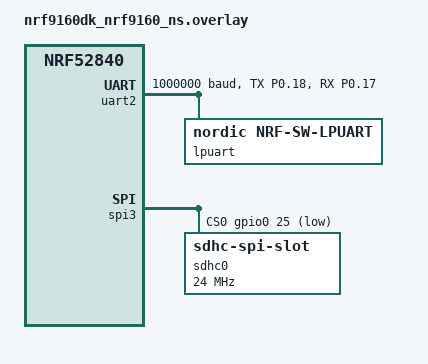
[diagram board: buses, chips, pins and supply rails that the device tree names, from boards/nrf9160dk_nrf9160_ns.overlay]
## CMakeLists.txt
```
# SPDX-License-Identifier: Apache-2.0

cmake_minimum_required(VERSION 3.20.0)

find_package(Zephyr REQUIRED HINTS $ENV{ZEPHYR_BASE})
project(ble_uart)

# Include main application source files
target_sources(app PRIVATE src/main.c)

# Add modules source file
target_sources(app PRIVATE src/scan_module.c src/beacon_module.c src/sdcard_module.c src/uart_module.c) # src/gnss_module.c 

# If you have a separate include directory for headers, you can add it like this:
target_include_directories(app PRIVATE include)
```

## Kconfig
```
#
# Copyright (c) 2019 Nordic Semiconductor ASA
#
# SPDX-License-Identifier: LicenseRef-Nordic-5-Clause
#

menu "cellfund Lesson 6 Exercise"


# STEP 3.1 - Define configuration for fix interval
config GNSS_PERIODIC_INTERVAL
	int "Fix interval for periodic GPS fixes"
	range 10 65535
	default 10
	help
	  Fix interval (in seconds) for periodic fixes.

# STEP 3.2 - Define configuration for fix timeout
config GNSS_PERIODIC_TIMEOUT
	int "Fix timeout for periodic GPS fixes"
	range 0 65535
	default 60
	help
	  Fix timeout (in seconds) for periodic fixes.
	  If set to zero, GNSS is allowed to run indefinitely until a valid PVT estimate is produced.


endmenu

menu "Zephyr Kernel"
source "Kconfig.zephyr"
endmenu
```

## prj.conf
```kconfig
CONFIG_BT=y
CONFIG_BT_BROADCASTER=y
CONFIG_BT_OBSERVER=y
CONFIG_LOG=y

# CONFIG_BT_DEVICE_NAME="B2B"
CONFIG_BT_EXT_ADV=y
CONFIG_BT_EXT_ADV_MAX_ADV_SET=2


# SD config
CONFIG_DISK_ACCESS=y
CONFIG_LOG=y
CONFIG_FILE_SYSTEM=y
CONFIG_FAT_FILESYSTEM_ELM=y
CONFIG_PRINTK=y
CONFIG_MAIN_STACK_SIZE=2048

CONFIG_SPI=y
CONFIG_GPIO=y
CONFIG_SDMMC_SUBSYS=y # Added for nrf52 dk support


# for random number generation
CONFIG_ENTROPY_GENERATOR=y

# UART
CONFIG_SERIAL=y
CONFIG_UART_ASYNC_API=y

# Log timestamp
CONFIG_LOG_PROCESS_THREAD=y  # Creates new thread for logging so there are no additional delays

# Debugging
CONFIG_DEBUG_THREAD_INFO=y
CONFIG_THREAD_STACK_INFO=y
CONFIG_STACK_SENTINEL=y
```

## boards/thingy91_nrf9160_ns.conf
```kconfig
CONFIG_NRF_SW_LPUART=y
CONFIG_NRF_SW_LPUART_INT_DRIVEN=y

CONFIG_UART_2_ASYNC=y
CONFIG_UART_2_INTERRUPT_DRIVEN=n
CONFIG_UART_2_NRF_HW_ASYNC=y
CONFIG_UART_2_NRF_HW_ASYNC_TIMER=2

CONFIG_USE_SEGGER_RTT=y
CONFIG_RTT_CONSOLE=y
CONFIG_UART_CONSOLE=n
CONFIG_LOG_BACKEND_RTT=y

CONFIG_AT_HOST_LIBRARY=n

CONFIG_LTE_LOCK_BANDS=y
# Enable band 2, 3, 4, 8, 12, 13 ,20 and 28
CONFIG_LTE_LOCK_BAND_MASK="1000000010000001100010001110"
```

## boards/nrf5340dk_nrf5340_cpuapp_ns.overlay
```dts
  arduino_spi: &spi4 {
    status = "okay";
    compatible = "nordic,nrf-spim";
    pinctrl-0 = <&spi4_default>;
    pinctrl-1 = <&spi4_sleep>;
    pinctrl-names = "default", "sleep";
    cs-gpios = <&gpio1 12 GPIO_ACTIVE_LOW>;
  
    sdhc0: sdhc@0 {
            compatible = "zephyr,sdhc-spi-slot";
            reg = <0>;
            status = "okay";
            mmc {
                compatible = "zephyr,sdmmc-disk";
                status = "okay";
            };
            spi-max-frequency = <24000000>;
    };
  };

  &uart2 {
    current-speed = <1000000>;
    status = "okay";
  
    pinctrl-0 = <&uart2_default>;
    pinctrl-1 = <&uart2_sleep>;
    pinctrl-names = "default", "sleep";
  };
  
  &i2c1 {
    status = "disabled";
  };

  / {
    leds {
      compatible = "gpio-leds";
      led3: led_3 {
        gpios = <&gpio0 31 GPIO_ACTIVE_HIGH>;
        label = "Green LED 3";
      };
    };
  };

  / {
    aliases {
        sync = &sync_gpio;  
    };
  
    sync_out: sync_out {
        compatible = "gpio-leds";
        sync_gpio: sync_gpio { 
            gpios = <&gpio0 7 GPIO_ACTIVE_HIGH>;  
            label = "SYNC_OUT";
        };
    };
  };

  &pinctrl {
    uart2_default: uart2_default {
      group1 {
        psels = <NRF_PSEL(UART_TX, 1, 11)>,
          <NRF_PSEL(UART_RTS, 0, 1)>;
      };
      group2 {
        psels = <NRF_PSEL(UART_RX, 1, 10)>,
          <NRF_PSEL(UART_CTS, 0, 0)>;
        bias-pull-up;
      };
    };
  
    uart2_sleep: uart2_sleep {
      group1 {
        psels = <NRF_PSEL(UART_TX, 1, 11)>,
          <NRF_PSEL(UART_RX, 1, 10)>,
          <NRF_PSEL(UART_RTS, 0, 1)>,
          <NRF_PSEL(UART_CTS, 0, 0)>;
        low-power-enable;
      };
    };
  };

&timer0 {
  status = "okay";
};
```

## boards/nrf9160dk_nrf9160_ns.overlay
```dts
#include <nrf9160dk_nrf52840_reset_on_if5.dtsi>

/ {
	chosen {
		zephyr,bt-uart=&lpuart;
	};
};

&gpiote {
	interrupts = <49 NRF_DEFAULT_IRQ_PRIORITY>;
};

&uart2 {
	current-speed = <1000000>;
	status = "okay";
	/delete-property/ hw-flow-control;

	pinctrl-0 = <&uart2_default_alt>;
	pinctrl-1 = <&uart2_sleep_alt>;
	pinctrl-names = "default", "sleep";
	lpuart: nrf-sw-lpuart {
		compatible = "nordic,nrf-sw-lpuart";
		status = "okay";
		req-pin = <21>; /* <&interface_to_nrf52840 3 0>; */
		rdy-pin = <19>; /* <&interface_to_nrf52840 2 0>; */
	};
};

arduino_spi: &spi3 {
	status = "okay";
	compatible = "nordic,nrf-spim";
	pinctrl-0 = <&spi3_default>;
	pinctrl-1 = <&spi3_sleep>;
	pinctrl-names = "default", "sleep";
	cs-gpios = <&gpio0 25 GPIO_ACTIVE_LOW>;

	sdhc0: sdhc@0 {
					compatible = "zephyr,sdhc-spi-slot";
					reg = <0>;
					status = "okay";
					mmc {
							compatible = "zephyr,sdmmc-disk";
							status = "okay";
					};
					spi-max-frequency = <24000000>;
	};
};

&pinctrl {
	uart2_default_alt: uart2_default_alt {
		group1 {
			psels = <NRF_PSEL(UART_TX, 0, 18)>,
				<NRF_PSEL(UART_RX, 0, 17)>;
		};
	};

	uart2_sleep_alt: uart2_sleep_alt {
		group1 {
			psels = <NRF_PSEL(UART_TX, 0, 18)>,
				<NRF_PSEL(UART_RX, 0, 17)>;
			low-power-enable;
		};
	};

};
```

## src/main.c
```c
#include <zephyr/kernel.h>
#include <zephyr/logging/log.h>
// #include <modem/nrf_modem_lib.h>
#include <zephyr/drivers/gpio.h>
#include <zephyr/sys/reboot.h>
#include <zephyr/bluetooth/hci.h>
#include "gnss_module.h" // Include the GNSS module
#include "scan_module.h"   // Include the BLE module
#include "beacon_module.h"  // Include the BLE beacon module
#include "ble_settings.h"
#include "sdcard_module.h"
#include "uart_module.h"

LOG_MODULE_REGISTER(main_logging, LOG_LEVEL_INF); // Register the logging module

// Define the runtime variables globally so they can be accessed from other files
uint32_t runtime_ms = 0;
uint32_t previous_runtime_ms = 0;

// States 
typedef enum {
    STATE_GNSS_SEARCH,
    STATE_SCANNING,
    STATE_ADVERTISING,
    STATE_DONE,
    STATE_NEW_TEST_FILE,
    STATE_ERROR,
    STATE_UART_SYNC
} app_state_t;

static app_state_t current_state = STATE_DONE;  // Initialize to GNSS search state

#if ROLE
static uint8_t test_count = 0;
#endif

void error_callback(const char *error_message)
{
    LOG_ERR("SD Card Error: %s", error_message);
    reset_packet_queue();
    append_error();
    current_state = STATE_NEW_TEST_FILE;
}

// configurations GPIOs, timers and synchronization
#if !defined(CONFIG_BOARD_NRF9160DK_NRF52840)

        #define EXPECTED_PULSE_COUNT 10 

        /* The devicetree node identifier for the "led0" alias. */
        #define LED0_NODE DT_ALIAS(led0)
        #define LED1_NODE DT_ALIAS(led1)
        #define LED2_NODE DT_ALIAS(led2)
        #define LED3_NODE DT_ALIAS(led3)
        #define BUTTON_NODE DT_ALIAS(sw0)
        #define SYNC_PIN  DT_ALIAS(sync)

        static const struct gpio_dt_spec led1 = GPIO_DT_SPEC_GET(LED0_NODE, gpios);
        static const struct gpio_dt_spec led2 = GPIO_DT_SPEC_GET(LED1_NODE, gpios);
        static const struct gpio_dt_spec led3 = GPIO_DT_SPEC_GET(LED2_NODE, gpios);
        static const struct gpio_dt_spec led4 = GPIO_DT_SPEC_GET(LED3_NODE, gpios);
        static const struct gpio_dt_spec button = GPIO_DT_SPEC_GET(BUTTON_NODE, gpios);
        static const struct gpio_dt_spec sync = GPIO_DT_SPEC_GET(SYNC_PIN, gpios);
        
        // Timers
        static struct k_timer timeout_timer;
        #if ROLE
            void sync_pulse(void) {
                gpio_pin_toggle_dt(&sync);
                gpio_pin_toggle_dt(&sync);
                gpio_pin_toggle_dt(&led3);
                LOG_INF("Sync pulse sent at %u ms", k_uptime_get());
            }
        #endif

        #if !ROLE
            static struct gpio_callback sync_cb_data;
            static bool synchronized = false;
            static bool synchronized_done = false;
            static uint32_t pulse_count = 0; // Track pulse count
            static uint32_t last_sync_time = 0; // Timestamp of the last sync pulse
            static uint32_t sync_period = 0; // Time difference between sync pulses

            // Callback function for sync pulse
            void sync_callback(const struct device *dev, struct gpio_callback *cb, uint32_t pins) {
                uint32_t current_time = k_uptime_get();
                
                // LOG_INF("Sync pulse received at %u ms", current_time);

                if (!synchronized) {
                    // Start synchronization after the first pulse
                    synchronized = true;
                    pulse_count = 1;
                    last_sync_time = current_time;
                } else {
                    // Calculate the time difference between consecutive sync pulses
                    sync_period = current_time - last_sync_time;
                    last_sync_time = current_time;
                    pulse_count++;

                    // Log sync period (frequency of sync pulse)
                    LOG_INF("Sync period: %u ms", sync_period);

                    // If we've received 10 pulses, stop listening and start toggling the LED
                    if (pulse_count >= EXPECTED_PULSE_COUNT) {
                        // LOG_INF("Received 10 pulses. Starting LED toggle.");
                        gpio_pin_interrupt_configure_dt(&sync, GPIO_INT_DISABLE); // Disable further interrupts
                    }
                }
            }
        #endif

        static struct k_timer led_timer;

        static struct gpio_callback button_cb_data;

        // Function to turn off the LED
        static void led_off(struct k_timer *timer) {
            gpio_pin_configure_dt(&led4, GPIO_OUTPUT_INACTIVE);
        }
        
        // Reset the LED timer and turn on the LED
        static void reset_led_timer(void) {
            gpio_pin_configure_dt(&led4, GPIO_OUTPUT_ACTIVE);  // Turn on the LED
            k_timer_start(&led_timer, K_MSEC(100), K_NO_WAIT);  // Reset the timer (1 second)
        }

        // #if ROLE
            static bool first_test = true;
        // #endif

        static bool recording_status = false;

        #define DEBOUNCE_DELAY_MS 500
        static uint32_t last_press_time = 0;

        void button_pressed(const struct device *dev, struct gpio_callback *cb, uint32_t pins)
        {
            uint32_t current_time = k_uptime_get();

            if ((current_time - last_press_time) > DEBOUNCE_DELAY_MS) {
                last_press_time = current_time;
                #if NLOS_TEST
                    // #if ROLE
                    if (recording_status) {
                        LOG_INF("Stop recording");
                        append_stop();
                        switch_recording(false);
                        gpio_pin_configure_dt(&led2, GPIO_OUTPUT_INACTIVE);
                        recording_status = false;
                    } else {
                        // append_null();
                        LOG_INF("Start recording");
                        switch_recording(true);
                        gpio_pin_configure_dt(&led2, GPIO_OUTPUT_ACTIVE);
                        recording_status = true;
                    }
                    // #else
                    //     gpio_pin_toggle_dt(&led2);
                    //     LOG_INF("Button pressed");
                    // #endif
                #endif
            }
        }

    // #if ROLE
        static void timer_handler(struct k_timer *timer_id) {
            current_state = STATE_NEW_TEST_FILE; 
        }     
    // #endif
#endif



// Callback function for first GNSS fix
// void on_first_fix_acquired(void) {
//     LOG_INF("Switching from GNSS search to Bluetooth scanning");
//     int err = application_init();
//     if (err) {
//         LOG_ERR("Application init failed");
//         return;
//     }
//     current_state = STATE_DONE;
// }

int main(void) {
    int err;
    LOG_INF("Starting B2B device...");

    #if !defined(CONFIG_BOARD_NRF9160DK_NRF52840)
        // initialize the GPIO pins
        int ret;
        if (!gpio_is_ready_dt(&led1)) {
            return 0;
        }
        if (!gpio_is_ready_dt(&led2)) {
            return 0;
        }
        if (!gpio_is_ready_dt(&led3)) {
            return 0;
        }
        if (!gpio_is_ready_dt(&led4)) {
            return 0;
        }
        if (!gpio_is_ready_dt(&button)) {
            return 0;
        }

        if (!gpio_is_ready_dt(&sync)) {
            return 0;
        }

        ret = gpio_pin_configure_dt(&button, GPIO_INPUT);
        if (ret < 0) {
            return -1;
        }

        gpio_pin_configure_dt(&led1, GPIO_OUTPUT_ACTIVE);   
        gpio_pin_configure_dt(&led2, GPIO_OUTPUT_ACTIVE);
        
        #if !defined(CONFIG_BOARD_NRF9160DK_NRF52840)
            #if ROLE
                gpio_pin_configure_dt(&sync, GPIO_OUTPUT);
                // Register the error callback with the SD card module
                set_error_handler(error_callback);

                // Initialize the SD card
                err = sdcard_init();
                if (err) {
                    LOG_ERR("Failed to initialize SD Card, error: %d", err);
                    return 0;
                } else {
                    create_csv();
                } 

                append_csv(0, 0, 0, 0, 0, 0, 0, 0, 0, 0, 0, 0, 0, 0); 
            #endif
            #if !ROLE
                // Configure sync pin (input with pull-up) and interrupt for rising edge
                gpio_pin_configure_dt(&sync, GPIO_INPUT | GPIO_PULL_UP);
                gpio_pin_interrupt_configure_dt(&sync, GPIO_INT_EDGE_TO_ACTIVE);

                // Initialize callback for sync pulse
                gpio_init_callback(&sync_cb_data, sync_callback, BIT(sync.pin));
                gpio_add_callback(sync.port, &sync_cb_data);
            #endif
        #endif

            gpio_pin_configure_dt(&led3, GPIO_OUTPUT_ACTIVE);
            gpio_pin_configure_dt(&led4, GPIO_OUTPUT_ACTIVE);
        
    #endif

    // Initialize the GNSS module
    // err = nrf_modem_lib_init();
    // if (err) {
    //     LOG_ERR("Failed to initialize modem, error: %d", err);
    //     return -1;
    // }

    // // Setup GNSS with the first-fix callback
    // if (setup_gnss(on_first_fix_acquired) != 0) {
    //     LOG_ERR("GNSS setup failed");
    //     return -1;
    // }

    // Main loop
    while (true) {
        switch (current_state) {
            case STATE_GNSS_SEARCH:
                // LOG_INF("Searching first fix");
                break;

            case STATE_SCANNING:
                
                reset_packet_received();
                #if !defined(CONFIG_BOARD_NRF9160DK_NRF52840)
                    ret = gpio_pin_configure_dt(&led1, GPIO_OUTPUT_INACTIVE);
                    if (ret < 0) {
                        return 0;
                    }
                #endif

                // Initialize and start Bluetooth scanning
                err = ble_start_scanning();
                if (err) {
                    LOG_ERR("BLE scanning start failed");
                    return err;
                }
                
                k_sleep(K_MSEC(SCAN_WINDOW_MAIN));
                // scan_duration = scan_duration + SCAN_WINDOW_MAIN;
                #if !defined(CONFIG_BOARD_NRF9160DK_NRF52840)
                    if (is_packet_received()) {
                        reset_led_timer();
                    }
                #endif

                // keep scanning if no available data to send
                while (!check_update_availability()) {
                    // LOG_INF("Scan interval reset due to no data to send. \n");
                    k_sleep(K_MSEC(SCAN_WINDOW_MAIN));
                    // scan_duration = scan_duration + SCAN_WINDOW_MAIN;
                    #if !defined(CONFIG_BOARD_NRF9160DK_NRF52840)
                        if (is_packet_received()) {
                            reset_led_timer();
                        }
                    #endif
                }

                int err = bt_le_scan_stop();
                if (err) {
                    LOG_ERR("Stopping scanning failed (err %d)\n", err);
                    return 0;
                }

                // Move to ADVERTISING state
                if (current_state != STATE_NEW_TEST_FILE){
                    current_state = STATE_ADVERTISING;
                }

                break;

            case STATE_ADVERTISING:
                #if !defined(CONFIG_BOARD_NRF9160DK_NRF52840)
                    ret = gpio_pin_configure_dt(&led1, GPIO_OUTPUT_ACTIVE);
                    if (ret < 0) {
                        return 0;
                    }
                    ret = gpio_pin_interrupt_configure_dt(&button, GPIO_INT_EDGE_TO_ACTIVE);

                    gpio_init_callback(&button_cb_data, button_pressed, BIT(button.pin)); 	
                    gpio_add_callback(button.port, &button_cb_data);
                #endif
                
                #if NLOS_TEST
                    #if ROLE
                        if(recording_status) {
                            err = advertising_start(false);
                        } else {
                            err = advertising_start(true);
                        }
                    #else
                        err = advertising_start(false); 
                    #endif
                #else
                    err = advertising_start(false);
                #endif
                if (err) {
                    LOG_ERR("Advertising start failed");
                    #ifdef CONFIG_BOARD_NRF9160DK_NRF52840
                    return err;
                    #else
                    return err;
                    append_error();
                    current_state = STATE_NEW_TEST_FILE;
                    break;
                    #endif
                }

                // Wait here until advertising completes
                while (!get_adv_progress()) {
                    k_sleep(K_MSEC(1)); // Small delay to avoid CPU overuse
                    // LOG_INF("transmission not done");
                }

                advertising_stop();

                if (current_state != STATE_NEW_TEST_FILE){
                    current_state = STATE_SCANNING;
                }
                // LOG_INF("Advertising duration: %d", k_uptime_get()-time);   
                break;

            // Pins, LEDs and BLE initialization 
            case STATE_DONE:
                // LOG_INF("Process done. Going to scanning state");
                #if !defined(CONFIG_BOARD_NRF9160DK_NRF52840)
                    gpio_pin_configure_dt(&led1, GPIO_OUTPUT_INACTIVE);
                    gpio_pin_configure_dt(&led2, GPIO_OUTPUT_INACTIVE);
                    gpio_pin_configure_dt(&led3, GPIO_OUTPUT_ACTIVE);
                    gpio_pin_configure_dt(&led4, GPIO_OUTPUT_INACTIVE);
                #endif

                // Enable BLE 
                err = bt_enable(NULL);
                if (err) {
                    LOG_ERR("Bluetooth init failed (err %d)", err);
                    return err;
                }
                
                
                // Initialize and start Bluetooth advertising
                err = advertising_module_init();
                if (err) {
                    LOG_ERR("Advertising module init failed");
                    return err;
                }
                
                LOG_INF("Bluetooth initialized");
                LOG_INF("Msg generation: %d ms / Number of copies: %d / Scan Window: %d ms / Test: %s / Time shift: %d ms / Role: %d", 
                    INTERVAL, PACKET_COPIES,SCAN_WINDOW_MAIN,CSV_TEST_NAME, TEST_SHIFT,ROLE);
                
                #ifdef CONFIG_BOARD_NRF9160DK_NRF52840
                    current_state = STATE_SCANNING;
                #else
                    k_timer_init(&led_timer, led_off, NULL);
                    current_state = STATE_UART_SYNC;
                #endif
                break;
            
            #if !defined(CONFIG_BOARD_NRF9160DK_NRF52840)
                // UART sychronization
                case STATE_UART_SYNC:
                    LOG_INF("Start UART sychronization");
                    err = uart_init();
                    if (err) {
                        LOG_ERR("UART init failed");
                        return err;
                    }

                    #if ROLE
                        // **Keep sending "HELLO" until slave responds**
                        detect_slave();
                    #else
                        LOG_INF("Searching for master...");
                        wait_for_response("HELLO");
                    #endif
                    
                    #if NLOS_TEST
                        switch_recording(false);
                    #else 
                        switch_recording(true);
                    #endif
                    
                    #if !defined(CONFIG_BOARD_NRF9160DK_NRF52840)
                        // #if ROLE
                            #if !(NLOS_TEST)
                                k_timer_init(&timeout_timer, timer_handler, NULL);
                                // k_timer_start(&timeout_timer, K_SECONDS(RUNAWAY_PERIOD), K_SECONDS(TEST_PERIOD));
                                #if ROLE
                                if (first_test) {
                                    first_test = false;
                                } else {
                                    LOG_INF("Time %u shift added",TEST_SHIFT*test_count);
                                    // trigger_time_shift();
                                    k_sleep(K_MSEC(TEST_SHIFT*test_count));
                                }

                                #endif
                                k_timer_start(&timeout_timer, K_SECONDS(TEST_PERIOD), K_NO_WAIT);
                            #endif
                        // #endif

                        gpio_pin_configure_dt(&led3, GPIO_OUTPUT_INACTIVE);
                    #endif

                    reset_last_packet_time();

                    // LOG_INF("App starting...");
                    err = application_init();
                    if (err) {
                        LOG_ERR("Application init failed");
                        return err;
                    }

                    // LOG_INF("Msg generation: %d ms / Number of copies: %d / Scan Window: %d ms / Test: %s / Time shift: %d ms / Role: %d", 
                    // INTERVAL, PACKET_COPIES,SCAN_WINDOW_MAIN,CSV_TEST_NAME, TEST_SHIFT,ROLE);

                    current_state = STATE_SCANNING;
                    break;

            // #if ROLE
                // Add marker packet to the SD card and shift
                case STATE_NEW_TEST_FILE:
                    #if ROLE
                    append_null();
                    reset_last_packet_time();
                    #endif
                    k_timer_stop(&timeout_timer);

                    err = application_stop();
                    if (err) {
                        LOG_ERR("Application stop failed");
                        return err;
                    }
                    #if ROLE
                    switch_recording(false);
                    // if (first_test) {
                    //     first_test = false;
                    // } else {
                    //     trigger_time_shift();
                    //     LOG_INF("Time shift added at: %lld", k_uptime_get());
                    // }  
                    #endif

                    
                    
                    
                    
                    #if ROLE
                    // switch_recording(true);
                    test_count++;
                    LOG_INF("New test started. Test count: %u \n", test_count);
                    #endif

                    current_state = STATE_UART_SYNC;
                    break;
                // #endif
            #endif


            default:
                LOG_ERR("Unknown state");
                return -1;
        }

        // Simulate 1 ms delay to prevent CPU overload
        k_sleep(K_MSEC(1));
    }

    return 0;
}
```

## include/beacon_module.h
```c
#ifndef BEACON_MODULE_H
#define BEACON_MODULE_H

#include <zephyr/kernel.h>
#include <zephyr/logging/log.h>
#include <zephyr/bluetooth/bluetooth.h>
#include <zephyr/bluetooth/gap.h>

int advertising_module_init(void);
int advertising_start(bool null_packet);
int application_init(void);
int application_stop(void);
bool get_adv_progress(void);
bool check_update_availability(void);
int advertising_stop(void);
void trigger_time_shift(void);

#endif // BEACON_MODULE_H
```

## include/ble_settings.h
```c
#ifndef BLE_SETTINGS_H
#define BLE_SETTINGS_H

// ADVERTISING PARAMETERS

#define PACKET_COPIES 5
#define INTERVAL 200
#define PACKET_GEN_INTERVAL K_MSEC(INTERVAL)  // Frequency X in seconds
#define ADV_INTERVAL 32 // 20ms
#define ROLE 1 // 1=master , 0=slave

// SCAN PARAMERTERS
#define SCAN_INTERVAL 80 // 80 = 50ms, 128 = 80 ms - scan setting on the scan module
#define SCAN_WINDOW 80 // 80 = 50ms, 128 = 80 ms - scan setting on the scan module
#define SCAN_WINDOW_MAIN 50  //ms - scan setting in the main file


// PACKET STRUCTURE
typedef struct adv_mfg_data {
    // uint16_t company_code[2];    // 2 bytes (1 * uint16_t)
    uint16_t number_press[1];    // 2 bytes (1 * uint16_t)
    uint32_t timestamp[1];          // 4 bytes
    uint8_t tx_delay[1];         // 1 bytes (1 * uint8_t)
    uint32_t latitude[1];            // 4 bytes (scaled integer for latitude)
    uint32_t longitude[1];           // 4 bytes (scaled integer for longitude)
} adv_mfg_data_type;

//PACKET CONTENT
#define COMPANY_ID_CODE 0x0059
#define DEVICE_NAME CONFIG_BT_DEVICE_NAME
#define DEVICE_NAME_LEN (sizeof(DEVICE_NAME) - 1)

#endif  // BLE_SETTINGS_H
```

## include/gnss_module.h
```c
#ifndef GNSS_MODULE_H
#define GNSS_MODULE_H

#include <stdint.h>

// RTC structure
struct rtc_time_s {
    uint8_t hour;
    uint8_t minute;
    uint8_t second;
    uint16_t ms;
    uint32_t last_runtime;
};

// RTC structure
struct gnss_s {
    uint32_t latitude;  
    uint32_t longitude;
};

// Extern declaration so it can be accessed from other files
// extern struct rtc_time_s rtc_time = {0,0,0,0,0};
// extern struct gnss_s last_gnss_data  = {52243187,6856186};


// GNSS-related function declarations
// typedef void (*gnss_fix_callback_t)(void);  // Define callback type

// int setup_gnss(gnss_fix_callback_t fix_cb); // Function that accepts a callback
// void update_rtc_from_gnss(void);

#endif // GNSS_MODULE_H
```

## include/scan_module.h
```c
#ifndef SCAN_MODULE_H
#define SCAN_MODULE_H

#include <zephyr/bluetooth/bluetooth.h>
#include <zephyr/bluetooth/hci.h>

// Function to start Bluetooth scanning
int ble_start_scanning(void);


bool is_packet_received(void);
void reset_packet_received(void);
void reset_last_packet_time(void);
void switch_recording(bool state);
void reset_packet_queue(void);

#if !defined(CONFIG_BOARD_NRF9160DK_NRF52840)
void append_null(void);
void append_error(void);
void append_stop(void);
#endif

// Callback for Bluetooth scan results
void scan_cb(const bt_addr_le_t *addr, int8_t rssi, uint8_t adv_type, struct net_buf_simple *buf);

#endif // SCAN_MODULE_H
```

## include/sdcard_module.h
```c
#ifndef SDCARD_MODULE_H
#define SDCARD_MODULE_H

#define CSV_TEST_NAME "sw50n5" //sw50n3, sw50n5, sw80n3, sw50si80
#define TEST_PERIOD 300 //seconds
#define TEST_SHIFT 10 //ms
#define RUNAWAY_PERIOD 30 //seconds. Time to separate the boards after sync
#define NLOS_TEST 0 // 0 = LOS, 1 = NLOS

void set_error_handler(void (*handler)(const char *));
int sdcard_init(void);
int disk_unmount(void);
int create_csv(void);
int append_csv(uint16_t number_press, uint16_t tx_delay, uint32_t latitude, uint32_t longitude, 
              uint8_t tx_hour, uint8_t tx_minute, uint8_t tx_second, uint16_t tx_ms,int8_t rssi,
              uint8_t rx_hour, uint8_t rx_minute, uint8_t rx_second, uint16_t rx_ms, uint32_t aoi);


#endif // SDCARD_MODULE_H
```

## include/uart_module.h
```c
#ifndef UART_MODULE_H
#define UART_MODULE_H

#include <zephyr/kernel.h>
#include <zephyr/device.h>
#include <zephyr/drivers/uart.h>

void uart_send(const char *msg);
void wait_for_response(const char *expected);
void detect_slave(void);
int uart_init(void);

#endif // UART_MODULE_H
```

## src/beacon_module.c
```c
#include <stdlib.h>
#include <zephyr/random/random.h>
#include "ble_settings.h"
#include "beacon_module.h"
#include "gnss_module.h"
#include "sdcard_module.h"

LOG_MODULE_REGISTER(beacon_module, LOG_LEVEL_INF);

static adv_mfg_data_type adv_mfg_data;

static struct rtc_time_s rtc_time = {0,0,0,0,0};
static struct gnss_s last_gnss_data  = {52243187,6856186};

struct packet_content {
    uint32_t tx_delay;
    uint16_t press_count;
    uint32_t timestamp;
};

static struct packet_content current_packet; // Single-packet buffer
static bool packet_pending = false; // Indicates if a packet is waiting to be served
static uint32_t override_interval = 0;  // 0 means no override

static struct k_timer packet_gen_timer;
static struct k_work packet_work;

// static int start_time = 0;
static bool fix_drift = false;

#ifdef CONFIG_BOARD_NRF9160DK_NRF52840
    #define DEVICE_NAME "B2B2"
#else
    #if ROLE
        #define DEVICE_NAME "B2B1"
    #else
        #define DEVICE_NAME "B2B2"
    #endif
#endif

#define DEVICE_NAME_LEN (sizeof(DEVICE_NAME) - 1)

// Manufacturer Specific Data configuration
static struct bt_le_ext_adv *adv_set;
static const struct bt_data ad[] = {
    BT_DATA_BYTES(BT_DATA_FLAGS, BT_LE_AD_NO_BREDR),
    BT_DATA(BT_DATA_NAME_COMPLETE, DEVICE_NAME, DEVICE_NAME_LEN),
    BT_DATA(BT_DATA_MANUFACTURER_DATA, (unsigned char *)&adv_mfg_data, sizeof(adv_mfg_data)),
};

static bool advertising_complete_flag = false; // Flag for advertising completion
static bool update_availability_flag = false; // Flag for content availability
bool get_adv_progress(void) {
    return advertising_complete_flag;
}

bool check_update_availability(void) {
    return update_availability_flag;
}

static void adv_sent_cb(struct bt_le_ext_adv *adv, struct bt_le_ext_adv_sent_info *info) {
    // LOG_INF("Advertising stopped after %u events", info->num_sent);
    advertising_complete_flag = true;
    update_availability_flag = false; // Reset availability after advertising
    packet_pending = false; // Mark packet as processed
};

static struct bt_le_ext_adv_cb adv_callbacks = {
    .sent = adv_sent_cb,
};

uint32_t random_delay(uint32_t min_ms, uint32_t max_ms) {
    uint32_t delay = min_ms + (sys_rand32_get() % (max_ms - min_ms + 1));
    k_sleep(K_MSEC(delay));
		return delay;
}

// Function to get current time as a single integer
static uint32_t get_current_time_packed(void) {
    // Calculate runtime milliseconds since last update
    uint32_t runtime_ms = k_uptime_get() - rtc_time.last_runtime;
    uint32_t total_ms = rtc_time.ms + runtime_ms;

    // Calculate the components of the current time
    uint16_t current_hour = rtc_time.hour;
    uint16_t current_minute = rtc_time.minute;
    uint16_t current_second = rtc_time.second + total_ms / 1000;
    uint16_t current_ms = total_ms % 1000;

    // Adjust time for overflow handling
    if (current_second >= 60) {
        current_minute += current_second / 60;
        current_second %= 60;
    }
    if (current_minute >= 60) {
        current_hour += current_minute / 60;
        current_minute %= 60;
    }
    if (current_hour >= 24) {
        current_hour %= 24;
    }

    // Pack the time into a single 32-bit integer
    uint32_t packed_time = (current_hour << 27) | (current_minute << 21) |
                           (current_second << 15) | (current_ms);

    return packed_time;
}

// Function to generate and enqueue new packet data - Appliocation layer
static void delayed_packet_enqueue(struct k_work *work) {
    if (packet_pending) {
        // LOG_WRN("Packet dropped: A previous packet is still being processed.");
        return;
    }

    // Populate new packet content
    int prev_gen = current_packet.tx_delay;
    current_packet.tx_delay = k_uptime_get();
    current_packet.press_count = adv_mfg_data.number_press[0] + 1;
    int time_diff = current_packet.tx_delay - prev_gen - INTERVAL;
    // LOG_INF("Packet generating period: %u / cycle ticks: %d / Diff: %d", (current_packet.tx_delay-prev_gen),(k_cycle_get_32() - start_time), time_diff);
    // start_time = k_cycle_get_32();

    // Check if the time difference is different than your desired interval
    if (abs(time_diff) > 0 && abs(time_diff) <= 5) {
        if (!fix_drift) {
            int fix = INTERVAL - time_diff;
            // LOG_INF("Adjusting time delay by %d ms, next period %d", time_diff, fix);  // Log the adjustment
            k_timer_start(&packet_gen_timer, K_MSEC(fix), PACKET_GEN_INTERVAL);
            fix_drift = true;
        } else {
            fix_drift = false;
        }
    }

    // Simulate network layer delay
    random_delay(11, 20);

    // Mark the packet as ready to be advertised
    packet_pending = true;
    update_availability_flag = true;
}

static void generate_packet_data(struct k_timer *dummy) {
    k_work_submit(&packet_work);  // Schedule work to handle delay and queue

    // Check if an override interval is set
    if (override_interval) {
        k_timer_start(&packet_gen_timer, K_MSEC(override_interval), PACKET_GEN_INTERVAL);
        override_interval = 0;  // Reset after one-time use
    }
}

// Function to modify the interval for only one iteration
void trigger_time_shift(void) {
    override_interval = TEST_SHIFT + INTERVAL;
}

// Initialize the timer for packet generation
int application_init(void) {
    k_work_init(&packet_work, delayed_packet_enqueue); // Initialize work item
    k_timer_init(&packet_gen_timer, generate_packet_data, NULL);
    k_timer_start(&packet_gen_timer, PACKET_GEN_INTERVAL, PACKET_GEN_INTERVAL);
    return 0;
}

int application_stop(void) {
    // Stop the packet generation timer
    k_timer_stop(&packet_gen_timer);

    // Cancel any pending work in the work queue
    int ret = k_work_cancel(&packet_work);
    if (ret == -EINPROGRESS) {
        // If the work is currently being executed, wait for it to finish
        k_work_flush(&packet_work, NULL);
    }

    LOG_INF("Application stopped: Timer and work queue reset");
    return 0;
}


int advertising_module_init(void) {
    int err;

    // LOG_INF("Initializing Advertising Module\n");

    // Initialize the advertising data
    struct bt_le_adv_param adv_param = {
        .options = BT_LE_ADV_OPT_NONE,
        .interval_min = ADV_INTERVAL,
        .interval_max = ADV_INTERVAL,
        .peer = NULL,
    };

    err = bt_le_ext_adv_create(&adv_param, &adv_callbacks, &adv_set);
    if (err) {
        LOG_ERR("Failed to create extended advertising set (err %d)\n", err);
        return 0;
    }

    return 0;
}

int advertising_start(bool null_packet) {
    if (!packet_pending) {
        LOG_WRN("No packet available to advertise. Back to scanning mode.");
        advertising_complete_flag = true;
        return 0;
    }
    advertising_complete_flag = false;

    // congfigure the advertising data's number of copies
    struct bt_le_ext_adv_start_param start_param = {
        .timeout = 0,
        .num_events = PACKET_COPIES
    };


    // Update adv_mfg_data with the current packet content
    #if NLOS_TEST
        #if ROLE
            if (null_packet) {
                adv_mfg_data.number_press[0] = 0;
                adv_mfg_data.latitude[0] = 0;
                adv_mfg_data.longitude[0] = 0;
                adv_mfg_data.timestamp[0] = 0;
                adv_mfg_data.tx_delay[0] = 0;
            } else {
                adv_mfg_data.number_press[0] = current_packet.press_count;
                adv_mfg_data.latitude[0] = last_gnss_data.latitude;
                adv_mfg_data.longitude[0] = last_gnss_data.longitude;
                adv_mfg_data.timestamp[0] = get_current_time_packed();
                adv_mfg_data.tx_delay[0] = k_uptime_get() - current_packet.tx_delay;
            }
        #else
            adv_mfg_data.number_press[0] = current_packet.press_count;
            adv_mfg_data.latitude[0] = last_gnss_data.latitude;
            adv_mfg_data.longitude[0] = last_gnss_data.longitude;
            adv_mfg_data.timestamp[0] = get_current_time_packed();
            adv_mfg_data.tx_delay[0] = k_uptime_get() - current_packet.tx_delay;
        #endif
    #else
        adv_mfg_data.number_press[0] = current_packet.press_count;
        adv_mfg_data.latitude[0] = last_gnss_data.latitude;
        adv_mfg_data.longitude[0] = last_gnss_data.longitude;
        adv_mfg_data.timestamp[0] = get_current_time_packed();
        adv_mfg_data.tx_delay[0] = k_uptime_get() - current_packet.tx_delay;
    #endif        

    // uint32_t time =  k_uptime_get();
    // LOG_INF("Packet value: %u / Transmission time: %u / Saved time: %u", adv_mfg_data.tx_delay[0], time, current_packet.tx_delay);
    // LOG_INF("Packet filled at: %u", time);

    // Debug log to show packet content and its size
    // LOG_INF("Advertising packet content:");
    // LOG_INF("  Press count: %d (Size: %zu bytes)", adv_mfg_data.number_press[0], sizeof(adv_mfg_data.number_press));
    // LOG_INF("  TX delay: %d (Size: %zu bytes)", adv_mfg_data.tx_delay[0], sizeof(adv_mfg_data.tx_delay));
    // LOG_INF("  Latitude: %d (Size: %zu bytes)", adv_mfg_data.latitude[0], sizeof(adv_mfg_data.latitude));
    // LOG_INF("  Longitude: %d (Size: %zu bytes)", adv_mfg_data.longitude[0], sizeof(adv_mfg_data.longitude));
    // LOG_INF("  Timestamp: %d (Size: %zu bytes)", adv_mfg_data.timestamp[0], sizeof(adv_mfg_data.timestamp));
    // LOG_INF("Total packet size: %zu bytes", sizeof(adv_mfg_data));

    int err = bt_le_ext_adv_set_data(adv_set, ad, ARRAY_SIZE(ad), NULL, 0);
    if (err) {
        LOG_ERR("Failed to set advertising data (err %d)\n", err);
        return err;
    }

    // Start the advertising
    err = bt_le_ext_adv_start(adv_set, &start_param);
    if (err) {
        LOG_ERR("Failed to start advertising (err %d)", err);
        return err;
    }
    // time =  k_uptime_get();
    // LOG_INF("Packet sent at: %u", time);

    return 0;
}

int advertising_stop(void) {
    // Stop the advertising
    // LOG_INF("Advertising stopped successfully.");
    advertising_complete_flag = true;
    update_availability_flag = false; // Reset availability after advertising
    packet_pending = false; // Mark packet as processed

    return 0;
}
```

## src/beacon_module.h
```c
#ifndef BEACON_MODULE_H
#define BEACON_MODULE_H

#include <zephyr/kernel.h>
#include <zephyr/logging/log.h>
#include <zephyr/bluetooth/bluetooth.h>
#include <zephyr/bluetooth/gap.h>
#include <zephyr/sys/ring_buffer.h>

#define COMPANY_ID_CODE 0x0059
#define DEVICE_NAME CONFIG_BT_DEVICE_NAME
#define DEVICE_NAME_LEN (sizeof(DEVICE_NAME) - 1)

typedef struct adv_mfg_data {
    // uint16_t company_code[2];    // 2 bytes (1 * uint16_t)
    uint16_t number_press[1];    // 2 bytes (1 * uint16_t)
    uint32_t timestamp[1];          // 4 bytes
    uint8_t tx_delay[1];         // 1 bytes (1 * uint8_t)
    uint32_t latitude[1];            // 4 bytes (scaled integer for latitude)
    uint32_t longitude[1];           // 4 bytes (scaled integer for longitude)
} adv_mfg_data_type;

int advertising_module_init(void);
int advertising_start(void);
int application_init(void);
bool get_adv_progress(void);
bool check_update_availability(void);
int advertising_stop(void);

#endif // BEACON_MODULE_H
```

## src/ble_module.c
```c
#include <zephyr/logging/log.h>
#include <zephyr/kernel.h>
#include "ble_module.h"
#include "gnss_module.h"

LOG_MODULE_REGISTER(ble_module, LOG_LEVEL_INF);  // Separate logging module for Bluetooth

#define SCAN_INTERVAL 0x0010
#define SCAN_WINDOW 0x0010

extern uint32_t runtime_ms;
extern uint32_t previous_runtime_ms;



typedef struct adv_mfg_data {
	uint8_t company_code[2]; /* Company Identifier Code. */
	uint16_t  number_press[2]; /* Number of times Button 1 is pressed */
	char hello_message[10];      /* "Hello" message */
	uint16_t  sensor_data[2];    /* Example sensor data */
} adv_mfg_data_type;

static void parse_advertisement_data(const uint8_t *data, int len, char **name, const uint8_t **manufacturer_data, int *manufacturer_data_len) {
    while (len > 0) {
        uint8_t field_len = data[0];
        if (field_len == 0) {
            break;
        }
        uint8_t field_type = data[1];
        const uint8_t *field_data = data + 2;
        int field_data_len = field_len - 1;

        if (field_type == BT_DATA_NAME_COMPLETE) {  // Complete Local Name
            *name = (char *)malloc(field_data_len + 1);
            memcpy(*name, field_data, field_data_len);
            (*name)[field_data_len] = '\0';  // Null-terminate the string
        }

        if (field_type == BT_DATA_MANUFACTURER_DATA) {  // Manufacturer Specific Data
            *manufacturer_data = field_data;
            *manufacturer_data_len = field_data_len;
        }

        // Move to the next field
        data += field_len + 1;
        len -= field_len + 1;
    }
}

// Start Bluetooth scanning
int ble_start_scanning(void) {
    struct bt_le_scan_param scan_param = {
        .type = BT_HCI_LE_SCAN_PASSIVE,
        .options = BT_LE_SCAN_OPT_NONE,
        .interval = SCAN_INTERVAL,
        .window = SCAN_WINDOW,
    };

    int err = bt_le_scan_start(&scan_param, scan_cb);
    if (err) {
        LOG_ERR("Starting scanning failed (err %d)", err);
        return err;
    }

    LOG_INF("Bluetooth scanning started");
    return 0;
}

// Bluetooth scan callback
void scan_cb(const bt_addr_le_t *addr, int8_t rssi, uint8_t type, struct net_buf_simple *ad) {
    char addr_str[BT_ADDR_LE_STR_LEN];
    bt_addr_le_to_str(addr, addr_str, sizeof(addr_str));

    runtime_ms = k_uptime_get() - previous_runtime_ms;

    // Parse the advertisement data
	uint16_t *data = ad->data;
	int len = ad->len;
	char *name = NULL;
	const uint16_t *manufacturer_data = NULL;
	int manufacturer_data_len = 0;

	parse_advertisement_data(ad->data, ad->len, &name, &manufacturer_data, &manufacturer_data_len);

    // Calculate total runtime and RTC-based time
    uint32_t total_ms = rtc_time.ms + runtime_ms;
    uint8_t current_hour = rtc_time.hour;
    uint8_t current_minute = rtc_time.minute;
    uint8_t current_second = rtc_time.second + total_ms / 1000;
    uint16_t current_ms = total_ms % 1000;

    // Adjust time if needed (overflow handling)
    if (current_second >= 60) {
        current_minute += current_second / 60;
        current_second %= 60;
    }
    if (current_minute >= 60) {
        current_hour += current_minute / 60;
        current_minute %= 60;
    }
    if (current_hour >= 24) {
        current_hour %= 24;
    }

    // LOG_INF("Device found: %s (RSSI %d), type %u, AD data len %u, device name: %s\n",
    //     addr_str, rssi, type, ad->len, name ? name : "(unknown)");

    // LOG_INF("Device found: %s (RSSI %d) at %02u:%02u:%02u.%03u - runtime: %llu",
    //         addr_str, rssi, current_hour, current_minute, current_second, current_ms, k_uptime_get());

    if (name && strcmp(name, "B2B") == 0) {
			printk("Device found: %s (RSSI %d), type %u, AD data len %u, device name: %s\n",
							addr_str, rssi, type, ad->len,name);

			if (manufacturer_data && manufacturer_data_len >= sizeof(adv_mfg_data_type)) {
            adv_mfg_data_type *data = (adv_mfg_data_type *)manufacturer_data;

            uint16_t company_code = (data->company_code[1] << 8) | data->company_code[0];
            uint16_t number_press = (data->number_press[1] << 8) | data->number_press[0];
            char hello_message[11];
            memcpy(hello_message, data->hello_message, sizeof(data->hello_message));
            hello_message[sizeof(data->hello_message)] = '\0';
            uint16_t sensor_data = (data->sensor_data[1] << 8) | data->sensor_data[0];

            printk("Manufacturer ID: 0x%04x\n", company_code);
            printk("Number of presses: %u\n", number_press);
            printk("Hello message: %s\n", hello_message);
            printk("Sensor data: %u\n", sensor_data);
        } else {
            printk("Invalid manufacturer-specific data length\n");
        }
		
	}

	if (name) {
			free(name);
	}
}
```

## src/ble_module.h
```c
#ifndef BLE_MODULE_H
#define BLE_MODULE_H

#include <zephyr/bluetooth/bluetooth.h>
#include <zephyr/bluetooth/hci.h>

// Function to initialize Bluetooth
int ble_init(void);

// Function to start Bluetooth scanning
int ble_start_scanning(void);

// Callback for Bluetooth scan results
void scan_cb(const bt_addr_le_t *addr, int8_t rssi, uint8_t adv_type, struct net_buf_simple *buf);

#endif // BLE_MODULE_H
```

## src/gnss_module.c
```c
#include <zephyr/kernel.h>
#include <nrf_modem_gnss.h>
#include <modem/nrf_modem_lib.h>
#include <modem/lte_lc.h>
// #include <dk_buttons_and_leds.h>
#include <zephyr/logging/log.h>
#include "gnss_module.h" // Include the header file for GNSS functionality

LOG_MODULE_REGISTER(GNSS_module, LOG_LEVEL_INF); // Use the same logging module

static struct nrf_modem_gnss_pvt_data_frame pvt_data;  // PVT data
static bool first_fix = false;  // Flag for first fix
static gnss_fix_callback_t fix_cb;  // Callback for first fix

// Structure to hold current RTC time
struct rtc_time_s rtc_time;
struct gnss_s last_gnss_data = {52243187,6856186};

// GNSS event handler
static void gnss_event_handler(int event) {
    int err;
    switch (event) {
        case NRF_MODEM_GNSS_EVT_PVT:
            if (!first_fix) {
                LOG_INF("Searching...");
                int num_satellites = 0;
                for (int i = 0; i < 12 ; i++) {
                    if (pvt_data.sv[i].signal != 0) {
                        // LOG_INF("sv: %d, cn0: %d, signal: %d", pvt_data.sv[i].sv, pvt_data.sv[i].cn0, pvt_data.sv[i].signal);
                        num_satellites++;
			        }
		        }
		        LOG_INF("Number of current satellites: %d", num_satellites);
            }

            err = nrf_modem_gnss_read(&pvt_data, sizeof(pvt_data), NRF_MODEM_GNSS_DATA_PVT);
            if (err) {
                LOG_ERR("nrf_modem_gnss_read failed, err %d", err);
                return;
            }

            if (pvt_data.flags & NRF_MODEM_GNSS_PVT_FLAG_FIX_VALID) {
                // LOG_INF("Time (GNSS):  %02u:%02u:%02u.%03u",
                //         pvt_data.datetime.hour, pvt_data.datetime.minute, 
                //         pvt_data.datetime.seconds, pvt_data.datetime.ms);

                if (!first_fix) {
                    first_fix = true;
                    update_rtc_from_gnss();
                    LOG_INF("First fix acquired.");
                    LOG_INF("Latitude:       %f", pvt_data.latitude);
                    LOG_INF("Longitude:      %f", pvt_data.longitude);
                    LOG_INF("Altitude:       %.01f m", pvt_data.altitude);

                    if (fix_cb) {
                        fix_cb();  // Call the callback function to notify the main app
                    }
                } else {
                    update_rtc_from_gnss();
                }
            }
            break;

        default:
            break;
    }
}

// GNSS timeout handler
static void gnss_timeout_handler(struct k_timer *timer_id) {
    LOG_INF("GNSS search timed out, using hardcoded timestamp.");
    
    rtc_time.hour = 11;
    rtc_time.minute = 11;
    rtc_time.second = 0;
    rtc_time.ms = 0;

    LOG_INF("Hardcoded RTC time set to: %02u:%02u:%02u.%03u",
            rtc_time.hour, rtc_time.minute, rtc_time.second, rtc_time.ms);

    if (fix_cb) {
        fix_cb();  // Call the callback function to notify the main app
    };
}

// Function to update RTC from GNSS
void update_rtc_from_gnss(void) {
    rtc_time.last_runtime = k_uptime_get();
    rtc_time.hour = pvt_data.datetime.hour;
    rtc_time.minute = pvt_data.datetime.minute;
    rtc_time.second = pvt_data.datetime.seconds;
    rtc_time.ms = pvt_data.datetime.ms;

    // Store the latest latitude and longitude in the gnss_data structure
    last_gnss_data.latitude = (uint32_t)(pvt_data.latitude * 1000000);
    last_gnss_data.longitude = (uint32_t)(pvt_data.longitude * 1000000);

    LOG_INF("RTC updated from GNSS: %02u:%02u:%02u.%03u - Coordinates: %u, %u", 
            rtc_time.hour, rtc_time.minute, rtc_time.second, rtc_time.ms, last_gnss_data.latitude, last_gnss_data.longitude);

    // dk_set_led_on(DK_LED1); // Indicate fix acquisition with LED
}

// GNSS setup function that accepts a callback for the first fix
int setup_gnss(gnss_fix_callback_t fix_callback) {
    int err;

    // Store the callback function
    fix_cb = fix_callback;

    uint8_t use_case;

    // use_case = NRF_MODEM_GNSS_USE_CASE_MULTIPLE_HOT_START | NRF_MODEM_GNSS_USE_CASE_LOW_ACCURACY;

    err = lte_lc_func_mode_set(LTE_LC_FUNC_MODE_ACTIVATE_GNSS);
    if (err) {
        LOG_ERR("Failed to activate GNSS functional mode");
        return err;
    }

    err = nrf_modem_gnss_event_handler_set(gnss_event_handler);
    if (err) {
        LOG_ERR("Failed to set GNSS event handler");
        return err;
    }

    err = nrf_modem_gnss_fix_interval_set(1);
    if (err) {
        LOG_ERR("Failed to set GNSS fix interval");
        return err;
    }

    err = nrf_modem_gnss_fix_retry_set(0);
    if (err) {
        LOG_ERR("Failed to set GNSS fix retry");
        return err;
    }

    // err = nrf_modem_gnss_use_case_set(use_case);
    // if (err) {
    //     LOG_ERR("Failed to set GNSS use case");
    //     return err;
    // }

    return nrf_modem_gnss_start();
}
```
